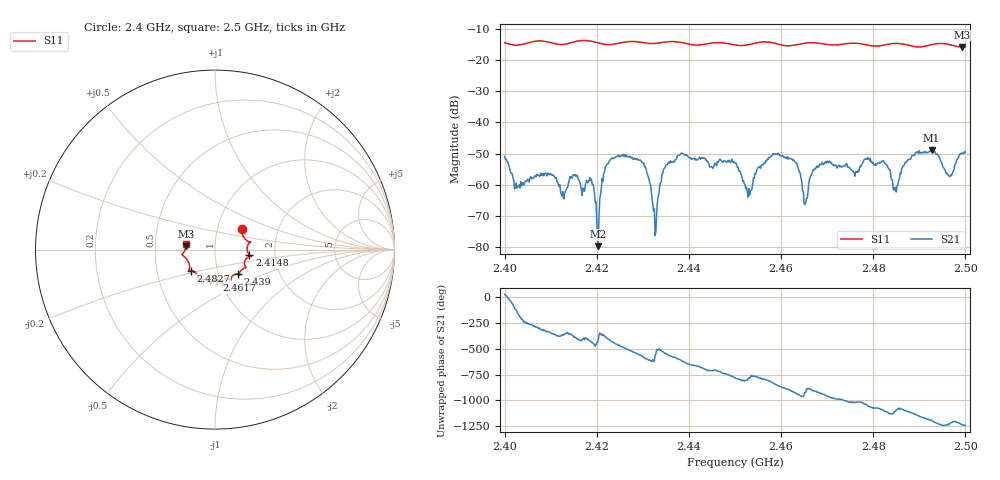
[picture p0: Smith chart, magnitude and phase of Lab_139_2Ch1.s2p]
# Hz S RI R 50
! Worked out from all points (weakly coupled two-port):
!   601 points, 2.4 GHz to 2.5 GHz, reference 50 ohm
!   highest |S21| = -48.97 dB at 2.4927 GHz (marker M1); lowest = -79.7 dB at 2.4203 GHz (marker M2)
!   lowest |S11| = -15.8 dB at 2.4993 GHz (marker M3), VSWR 1.39, Z = 36.1 + j1.41 ohm
!   |S11| at or under -10 dB: start of sweep to end of sweep
!   S12 and S22 are empty: the file has one direction only
!   S11 on the Smith chart (normalised r, x): 2.4 GHz: 1.31, +0.32; 2.4148 GHz: 1.47, -0.09; 2.439 GHz: 1.24, -0.35; 2.4617 GHz: 0.96, -0.34; 2.4827 GHz: 0.75, -0.18; 2.5 GHz: 0.72, +0.05
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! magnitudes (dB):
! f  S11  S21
! 2.4 GHz  -14.4  -50.9
! 2.4027 GHz  -15.2  -61.1
! 2.4148 GHz  -14.2  -56.9
! 2.4167 GHz  -13.7  -61.6
! 2.4188 GHz  -13.9  -58.2
! 2.4203 GHz  -14.4  -79.7
! 2.422 GHz  -15.0  -53.9
! 2.4248 GHz  -14.5  -50.8
! 2.4333 GHz  -14.5  -63.6
! 2.439 GHz  -14.5  -50.4
! 2.45 GHz  -15.1  -53.0
! 2.4532 GHz  -14.9  -63.4
! 2.4617 GHz  -15.4  -51.4
! 2.4652 GHz  -14.5  -66.4
! 2.4667 GHz  -14.4  -56.3
! 2.4827 GHz  -15.0  -53.2
! 2.4833 GHz  -14.8  -54.9
! 2.4848 GHz  -14.6  -61.2
! 2.4927 GHz  -15.0  -49.0
! 2.4965 GHz  -15.0  -57.3
! 2.4993 GHz  -15.8  -49.8
! 2.5 GHz  -15.7  -49.5
